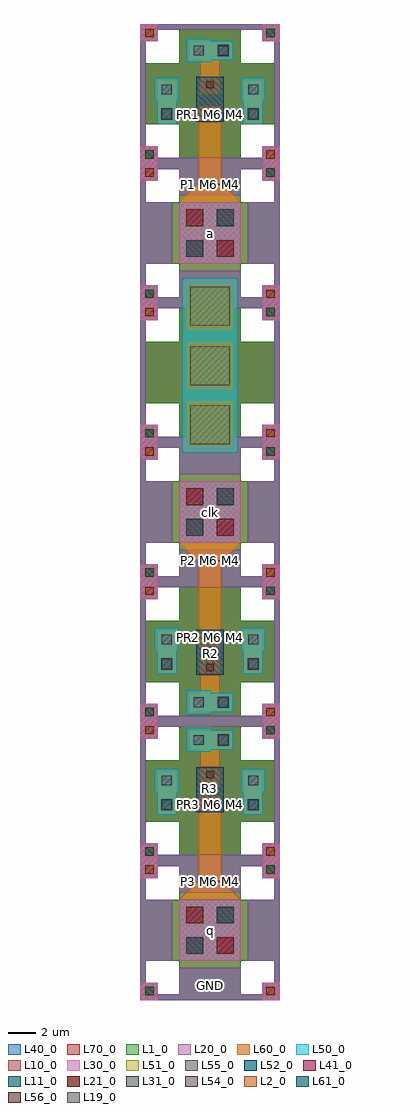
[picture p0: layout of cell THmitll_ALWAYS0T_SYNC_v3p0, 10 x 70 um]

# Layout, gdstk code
from math import pi, radians
import gdstk
lib = gdstk.Library(unit=1e-6, precision=1e-09)
def R(c, l, rs):  # rectangles x0, y0, x1, y1
    for r in rs: c.add(gdstk.rectangle(r[:2], r[2:], *l))
def P(c, l, *ps):  # polygons
    for p in ps: c.add(gdstk.Polygon(p, *l))
L1_0 = (1, 0)
L2_0 = (2, 0)
L10_0 = (10, 0)
L11_0 = (11, 0)
L19_0 = (19, 0)
L20_0 = (20, 0)
L21_0 = (21, 0)
L30_0 = (30, 0)
L31_0 = (31, 0)
L40_0 = (40, 0)
L41_0 = (41, 0)
L50_0 = (50, 0)
L51_0 = (51, 0)
L52_0 = (52, 0)
L54_0 = (54, 0)
L55_0 = (55, 0)
L56_0 = (56, 0)
L60_0 = (60, 0)
L61_0 = (61, 0)
L70_0 = (70, 0)

ls_tr_m7 = lib.new_cell('ls_tr_M7')
P(ls_tr_m7, L70_0, [(0,0),(0,10),(1.25,10),(1.25,8.75),(0.4,8.75),(0.4,1.25),(1.25,1.25),(1.25,0.4),(2.8,0.4),(2.8,2.8),(0.4,2.8),(0.4,7.2),(2.8,7.2),(2.8,9.6),(1.25,9.6),(1.25,10),(7.2,10),(7.2,0.4),(8.75,0.4),(8.75,1.25),(9.6,1.25),(9.6,2.8),(7.2,2.8),(7.2,7.2),(9.6,7.2),(9.6,8.75),(8.75,8.75),(8.75,9.6),(7.2,9.6),(7.2,10),(10,10),(10,0)])

ls_tr_u_m4 = lib.new_cell('ls_tr_u_M4')
P(ls_tr_u_m4, L1_0, [(0,0),(0,10),(1.25,10),(1.25,8.75),(0.4,8.75),(0.4,1.25),(1.25,1.25),(1.25,0.4),(2.8,0.4),(2.8,2.8),(0.4,2.8),(0.4,7.2),(2.8,7.2),(2.8,9.6),(1.25,9.6),(1.25,10),(7.2,10),(7.2,0.4),(8.75,0.4),(8.75,1.25),(9.6,1.25),(9.6,2.8),(7.2,2.8),(7.2,7.2),(9.6,7.2),(9.6,8.75),(8.75,8.75),(8.75,9.6),(7.2,9.6),(7.2,10),(10,10),(10,0)])
R(ls_tr_u_m4, L2_0, [(9.05,0.35,9.65,0.95), (0.35,9.05,0.95,9.65)])
R(ls_tr_u_m4, L10_0, [(0,0,1.25,1.25), (8.75,0,10,1.25), (0,8.75,1.25,10), (8.75,8.75,10,10)])
R(ls_tr_u_m4, L11_0, [(0.35,0.35,0.95,0.95), (9.05,9.05,9.65,9.65)])
P(ls_tr_u_m4, L20_0, [(0,0),(0,10),(1.25,10),(1.25,8.75),(0.4,8.75),(0.4,1.25),(1.25,1.25),(1.25,0.4),(8.75,0.4),(8.75,1.25),(9.6,1.25),(9.6,8.75),(8.75,8.75),(8.75,9.6),(1.25,9.6),(1.25,10),(10,10),(10,0)])
R(ls_tr_u_m4, L21_0, [(9.05,0.35,9.65,0.95), (0.35,9.05,0.95,9.65)])
R(ls_tr_u_m4, L30_0, [(0,0,1.25,1.25), (8.75,0,10,1.25), (0,8.75,1.25,10), (8.75,8.75,10,10)])
R(ls_tr_u_m4, L31_0, [(0.35,0.35,0.95,0.95), (9.05,9.05,9.65,9.65)])
P(ls_tr_u_m4, L40_0, [(0,0),(0,10),(1.25,10),(1.25,8.75),(0.4,8.75),(0.4,1.25),(1.25,1.25),(1.25,0.4),(2.8,0.4),(2.8,2.8),(0.4,2.8),(0.4,7.2),(2.8,7.2),(2.8,9.6),(1.25,9.6),(1.25,10),(7.2,10),(7.2,0.4),(8.75,0.4),(8.75,1.25),(9.6,1.25),(9.6,2.8),(7.2,2.8),(7.2,7.2),(9.6,7.2),(9.6,8.75),(8.75,8.75),(8.75,9.6),(7.2,9.6),(7.2,10),(10,10),(10,0)])
ls_tr_u_m4.add(gdstk.Reference(ls_tr_m7, (0,0)))

ls_tr_ptlconnection = lib.new_cell('ls_tr_PTLconnection')
P(ls_tr_ptlconnection, L1_0, [(0,0),(0,10),(1.25,10),(1.25,8.75),(0.4,8.75),(0.4,1.25),(1.25,1.25),(1.25,0.4),(2.8,0.4),(2.8,2.8),(0.4,2.8),(0.4,7.2),(2.8,7.2),(2.8,9.6),(1.25,9.6),(1.25,10),(7.2,10),(7.2,0.4),(8.75,0.4),(8.75,1.25),(9.6,1.25),(9.6,2.8),(7.2,2.8),(7.2,7.2),(9.6,7.2),(9.6,8.75),(8.75,8.75),(8.75,9.6),(7.2,9.6),(7.2,10),(10,10),(10,0)])
R(ls_tr_ptlconnection, L2_0, [(9.05,0.35,9.65,0.95), (0.35,9.05,0.95,9.65)])
R(ls_tr_ptlconnection, L10_0, [(0,0,1.25,1.25), (8.75,0,10,1.25), (2.8,2.8,7.2,7.2), (0,8.75,1.25,10), (8.75,8.75,10,10)])
R(ls_tr_ptlconnection, L11_0, [(0.35,0.35,0.95,0.95), (3.3,3.3,4.5,4.5), (5.5,5.5,6.7,6.7), (9.05,9.05,9.65,9.65)])
R(ls_tr_ptlconnection, L20_0, [(2.8,2.8,7.2,7.2)])
P(ls_tr_ptlconnection, L20_0, [(0,0),(0,10),(7.2,10),(7.2,7.7),(2.8,7.7),(2.8,9.6),(1.25,9.6),(1.25,8.75),(0.4,8.75),(0.4,7.2),(2.3,7.2),(2.3,2.8),(0.4,2.8),(0.4,1.25),(1.25,1.25),(1.25,0.4),(2.8,0.4),(2.8,2.3),(7.2,2.3),(7.2,0.4),(8.75,0.4),(8.75,1.25),(9.6,1.25),(9.6,2.8),(7.7,2.8),(7.7,7.2),(9.6,7.2),(9.6,8.75),(8.75,8.75),(8.75,9.6),(7.2,9.6),(7.2,10),(10,10),(10,0)])
R(ls_tr_ptlconnection, L21_0, [(9.05,0.35,9.65,0.95), (5.5,3.3,6.7,4.5), (3.3,5.5,4.5,6.7), (0.35,9.05,0.95,9.65)])
R(ls_tr_ptlconnection, L30_0, [(0,0,1.25,1.25), (8.75,0,10,1.25), (2.8,2.8,7.2,7.2), (0,8.75,1.25,10), (8.75,8.75,10,10)])
R(ls_tr_ptlconnection, L31_0, [(0.35,0.35,0.95,0.95), (3.3,3.3,4.5,4.5), (5.5,5.5,6.7,6.7), (9.05,9.05,9.65,9.65)])
R(ls_tr_ptlconnection, L40_0, [(2.8,2.8,7.2,7.2)])
P(ls_tr_ptlconnection, L40_0, [(0,0),(0,10),(7.2,10),(7.2,7.7),(2.8,7.7),(2.8,9.6),(1.25,9.6),(1.25,8.75),(0.4,8.75),(0.4,7.2),(2.3,7.2),(2.3,2.8),(0.4,2.8),(0.4,1.25),(1.25,1.25),(1.25,0.4),(2.8,0.4),(2.8,2.3),(7.2,2.3),(7.2,0.4),(8.75,0.4),(8.75,1.25),(9.6,1.25),(9.6,2.8),(7.7,2.8),(7.7,7.2),(9.6,7.2),(9.6,8.75),(8.75,8.75),(8.75,9.6),(7.2,9.6),(7.2,10),(10,10),(10,0)])
R(ls_tr_ptlconnection, L41_0, [(5.5,3.3,6.7,4.5), (3.3,5.5,4.5,6.7)])
R(ls_tr_ptlconnection, L50_0, [(2.8,2.8,7.2,7.2)])
R(ls_tr_ptlconnection, L54_0, [(3.3,3.3,4.5,4.5), (5.5,5.5,6.7,6.7)])
R(ls_tr_ptlconnection, L60_0, [(2.8,2.8,7.2,7.2)])
P(ls_tr_ptlconnection, L70_0, [(0,0),(0,10),(1.25,10),(1.25,8.75),(0.4,8.75),(0.4,1.25),(1.25,1.25),(1.25,0.4),(2.8,0.4),(2.8,2.8),(0.4,2.8),(0.4,7.2),(2.8,7.2),(2.8,9.6),(1.25,9.6),(1.25,10),(7.2,10),(7.2,0.4),(8.75,0.4),(8.75,1.25),(9.6,1.25),(9.6,2.8),(7.2,2.8),(7.2,7.2),(9.6,7.2),(9.6,8.75),(8.75,8.75),(8.75,9.6),(7.2,9.6),(7.2,10),(10,10),(10,0)])

ls_conn_m4m5m6m7 = lib.new_cell('ls_conn_M4M5M6M7')
R(ls_conn_m4m5m6m7, L40_0, [(0,0,1.4,1.4)])
R(ls_conn_m4m5m6m7, L41_0, [(0.3,0.3,1.1,1.1)])
P(ls_conn_m4m5m6m7, L50_0, [(1.6,-0.15),(1.6,0),(0,0),(0,1.4),(1.6,1.4),(1.6,1.55),(3.3,1.55),(3.3,-0.15)])
R(ls_conn_m4m5m6m7, L54_0, [(2.1,0.35,2.8,1.05)])
R(ls_conn_m4m5m6m7, L60_0, [(0,0,3.15,1.4)])
R(ls_conn_m4m5m6m7, L61_0, [(0.35,0.35,1.05,1.05)])
R(ls_conn_m4m5m6m7, L70_0, [(0,0,1.4,1.4)])

ls_res_2 = lib.new_cell('ls_res_2')
R(ls_res_2, L52_0, [(-1,0,1,3.225)])
R(ls_res_2, L56_0, [(-0.26,0.29,0.26,0.81), (-0.26,2.44,0.26,2.96)])
R(ls_res_2, L60_0, [(-0.625,-0.1,0.625,1.175), (-0.625,2.075,0.625,3.325)])

ls_fakejj_3umx3um = lib.new_cell('ls_FakeJJ_3umx3um')
R(ls_fakejj_3umx3um, L40_0, [(-2,-2,2,2)])
R(ls_fakejj_3umx3um, L50_0, [(-2,-2,2,2)])
R(ls_fakejj_3umx3um, L51_0, [(-1.5,-1.5,1.5,1.5)])
R(ls_fakejj_3umx3um, L55_0, [(-1.4,-1.4,1.4,1.4)])
R(ls_fakejj_3umx3um, L60_0, [(-1.75,-1.75,1.75,1.75)])

thmitll_always0t_sync_v3 = lib.new_cell('THmitll_ALWAYS0T_SYNC_v3p0')
R(thmitll_always0t_sync_v3, L19_0, [(4.75,13.75,5.25,14.25), (4.75,25.75,5.25,26.25), (4.75,63.25,5.3,63.75)])
R(thmitll_always0t_sync_v3, L50_0, [(3,39.25,7,51.75)])
P(thmitll_always0t_sync_v3, L60_0, [(2.8,7.2),(5,9.4),(7.2,7.2)],
  [(5,30.6),(2.8,32.8),(7.2,32.8)],
  [(2.8,57.2),(5,59.4),(7.2,57.2)])
thmitll_always0t_sync_v3.add(gdstk.FlexPath([(5,24.5),(5,21.75)], 1.4, ends="flush", simple_path=True, layer=60, datatype=0))  # L60_0
thmitll_always0t_sync_v3.add(gdstk.FlexPath([(5,15.5),(5,18.3)], 1.4, ends="flush", simple_path=True, layer=60, datatype=0))  # L60_0
thmitll_always0t_sync_v3.add(gdstk.FlexPath([(5,25.35),(5,32.8)], 1.6, ends="flush", simple_path=True, layer=60, datatype=0))  # L60_0
thmitll_always0t_sync_v3.add(gdstk.FlexPath([(5,14.65),(5,7.2)], 1.6, ends="flush", simple_path=True, layer=60, datatype=0))  # L60_0
thmitll_always0t_sync_v3.add(gdstk.FlexPath([(5,65),(5,67.8)], 1.4, ends="flush", simple_path=True, layer=60, datatype=0))  # L60_0
thmitll_always0t_sync_v3.add(gdstk.FlexPath([(5,64.15),(5,57.2)], 1.6, ends="flush", simple_path=True, layer=60, datatype=0))  # L60_0
thmitll_always0t_sync_v3.add(gdstk.FlexPath([(4.2,8.5),(5.8,8.5)], 0.1, ends="flush", simple_path=True, layer=19, datatype=0))  # L19_0
thmitll_always0t_sync_v3.add(gdstk.FlexPath([(4.2,31.5),(5.8,31.5)], 0.1, ends="flush", simple_path=True, layer=19, datatype=0))  # L19_0
thmitll_always0t_sync_v3.add(gdstk.FlexPath([(4.2,58.5),(5.8,58.5)], 0.1, ends="flush", simple_path=True, layer=19, datatype=0))  # L19_0
thmitll_always0t_sync_v3.add(gdstk.Reference(ls_tr_u_m4, (0,10)))
thmitll_always0t_sync_v3.add(gdstk.Reference(ls_tr_u_m4, (0,20)))
thmitll_always0t_sync_v3.add(gdstk.Reference(ls_tr_ptlconnection, (10,10), rotation=pi))
thmitll_always0t_sync_v3.add(gdstk.Reference(ls_tr_ptlconnection, (10,40), rotation=pi))
thmitll_always0t_sync_v3.add(gdstk.Reference(ls_tr_ptlconnection, (10,60), rotation=pi))
thmitll_always0t_sync_v3.add(gdstk.Reference(ls_tr_u_m4, (0,40)))
thmitll_always0t_sync_v3.add(gdstk.Reference(ls_tr_u_m4, (0,60)))
thmitll_always0t_sync_v3.add(gdstk.Reference(ls_conn_m4m5m6m7, (6.65,19.35), rotation=pi))
thmitll_always0t_sync_v3.add(gdstk.Reference(ls_conn_m4m5m6m7, (6.65,22.05), rotation=pi))
thmitll_always0t_sync_v3.add(gdstk.Reference(ls_res_2, (5,16.7), rotation=pi))
thmitll_always0t_sync_v3.add(gdstk.Reference(ls_res_2, (5,26.55), rotation=pi))
thmitll_always0t_sync_v3.add(gdstk.Reference(ls_conn_m4m5m6m7, (2.6,13.3), rotation=pi/2))
thmitll_always0t_sync_v3.add(gdstk.Reference(ls_conn_m4m5m6m7, (8.8,13.3), rotation=pi/2))
thmitll_always0t_sync_v3.add(gdstk.Reference(ls_conn_m4m5m6m7, (8.8,23.4), rotation=pi/2))
thmitll_always0t_sync_v3.add(gdstk.Reference(ls_conn_m4m5m6m7, (2.6,23.4), rotation=pi/2))
thmitll_always0t_sync_v3.add(gdstk.Reference(ls_conn_m4m5m6m7, (6.65,68.8), rotation=pi))
thmitll_always0t_sync_v3.add(gdstk.Reference(ls_res_2, (5,66.2), rotation=pi))
thmitll_always0t_sync_v3.add(gdstk.Reference(ls_conn_m4m5m6m7, (2.6,62.85), rotation=pi/2))
thmitll_always0t_sync_v3.add(gdstk.Reference(ls_conn_m4m5m6m7, (8.8,62.85), rotation=pi/2))
thmitll_always0t_sync_v3.add(gdstk.Reference(ls_fakejj_3umx3um, (5,49.75), rotation=pi/2))
thmitll_always0t_sync_v3.add(gdstk.Reference(ls_fakejj_3umx3um, (5,45.5), rotation=pi/2))
thmitll_always0t_sync_v3.add(gdstk.Reference(ls_fakejj_3umx3um, (5,41.25), rotation=pi/2))
thmitll_always0t_sync_v3.add(gdstk.Label('GND', (5,1.05), layer=40, texttype=0))
thmitll_always0t_sync_v3.add(gdstk.Label('P3 M6 M4', (5,8.5), layer=182, texttype=0))
thmitll_always0t_sync_v3.add(gdstk.Label('PR3 M6 M4', (5,14), layer=182, texttype=0))
thmitll_always0t_sync_v3.add(gdstk.Label('PR2 M6 M4', (5,26), layer=182, texttype=0))
thmitll_always0t_sync_v3.add(gdstk.Label('P2 M6 M4', (5,31.5), layer=182, texttype=0))
thmitll_always0t_sync_v3.add(gdstk.Label('P1 M6 M4', (5,58.5), layer=182, texttype=0))
thmitll_always0t_sync_v3.add(gdstk.Label('PR1 M6 M4', (5,63.5), layer=182, texttype=0))
thmitll_always0t_sync_v3.add(gdstk.Label('R2', (5,24.85), layer=52, texttype=11))
thmitll_always0t_sync_v3.add(gdstk.Label('R3', (4.95,15.15), layer=52, texttype=11))
thmitll_always0t_sync_v3.add(gdstk.Label('R1', (5,64.5), layer=52, texttype=11))
thmitll_always0t_sync_v3.add(gdstk.Label('q', (5,5), layer=60, texttype=5))
thmitll_always0t_sync_v3.add(gdstk.Label('clk', (5,35), layer=60, texttype=5))
thmitll_always0t_sync_v3.add(gdstk.Label('a', (5,55), layer=60, texttype=5))

lib.write_gds('THmitll_ALWAYS0T_SYNC_v3p0.gds')
